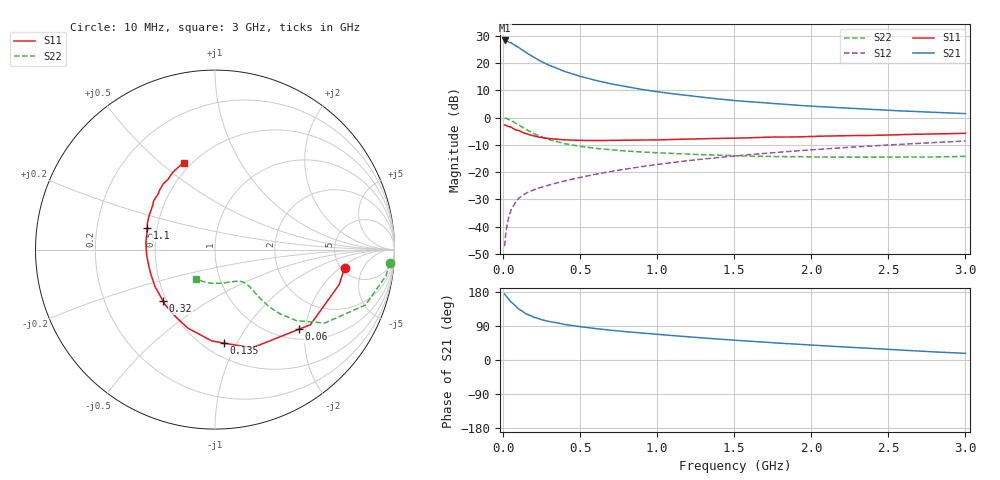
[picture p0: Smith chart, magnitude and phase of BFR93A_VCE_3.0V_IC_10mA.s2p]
! Infineon Technologies  Discrete & RF Semiconductors
! BFR93A
! VCE =  3.0 V,  IC =  10 mA
! Common Emitter S-Parameters:  Nov 2015
# GHz  S  MA  R  50
!  f  S11  S21  S12  S22
! GHz  MAG  ANG  MAG  ANG  MAG  ANG  MAG  ANG
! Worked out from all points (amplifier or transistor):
!   180 points, 10 MHz to 3 GHz, reference 50 ohm
!   highest |S21| = 28.3 dB at 10 MHz (marker M1)
!   |S21| within 3 dB of that: start of sweep to 111.9 MHz
!   unconditionally stable (mu >= 1): 567.8 MHz to 2.894 GHz
!   at 160 MHz: K = 0.51, MSG = 25.4 dB, |S12| = -27.4 dB
!   at 1.22 GHz: K = 1.10, MAG = 9.9 dB, |S12| = -15.7 dB
!   at 3 GHz: K = 0.99, MSG = 5.0 dB, |S12| = -8.6 dB
!   S11 on the Smith chart (normalised r, x): 10 MHz: 5.34, -2.31; 60 MHz: 1.21, -1.84; 135 MHz: 0.62, -0.89; 320 MHz: 0.48, -0.33; 1.1 GHz: 0.44, +0.12; 3 GHz: 0.46, +0.60
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0.01  0.7287 -8.0  25.9 174.1  0.0044 86.1  0.9766 -4.4
0.02  0.7189 -15.7  25.54 168.7  0.0085 81.1  0.9644 -8.6
0.05  0.6765 -38.2  23.64 153.6  0.0197 72.8  0.8938 -20.2
0.06  0.6443 -43.6  22.61 150.4  0.0223 69.6  0.8588 -22.5
0.1  0.5855 -69.3  19.34 134.7  0.033 61.8  0.7357 -33.8
0.135  0.5231 -84.6  16.52 126.2  0.0388 58.2  0.6411 -38.6
0.15  0.5095 -92.0  15.45 121.6  0.0413 57.0  0.6022 -41.1
0.2  0.4628 -109.1  12.63 112.9  0.0476 55.4  0.5076 -44.7
0.24  0.4353 -119.5  10.97 107.7  0.052 55.2  0.4542 -46.1
0.26  0.4263 -124.3  10.26 105.4  0.0541 55.4  0.4315 -46.6
0.3  0.4134 -132.5  9.059 101.4  0.0583 55.9  0.3939 -47.1
0.32  0.4068 -135.5  8.634 100.1  0.0604 56.3  0.3816 -47.1
0.4  0.3926 -148.5  6.988 93.6  0.0689 57.8  0.3322 -47.3
0.52  0.3812 -162.1  5.518 86.9  0.0823 59.4  0.2922 -47.0
0.7  0.382 -176.2  4.154 78.5  0.1029 61.1  0.2566 -47.7
0.88  0.3869 173.0  3.355 71.9  0.1239 61.5  0.2356 -49.5
1.02  0.3907 166.0  2.923 67.1  0.1406 61.2  0.2254 -51.7
1.1  0.3966 162.5  2.732 64.4  0.1502 61.0  0.2201 -53.6
1.52  0.4205 147.1  2.03 51.7  0.2 58.2  0.1995 -64.5
2.02  0.453 132.9  1.607 39.0  0.2587 53.8  0.1895 -81.1
2.52  0.4822 120.7  1.353 27.7  0.3173 48.2  0.1885 -100.3
3  0.5148 109.7  1.183 17.6  0.3722 42.4  0.195 -122.4
